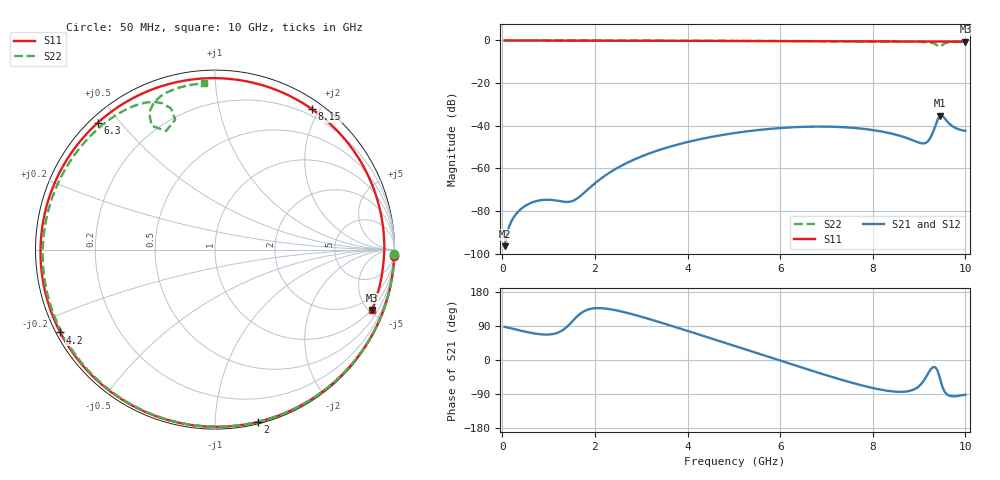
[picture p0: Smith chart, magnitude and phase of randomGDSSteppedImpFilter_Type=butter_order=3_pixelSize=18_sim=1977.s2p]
! freq	dB(S11)	phase(S11)	dB(S12)	phase(S12)
!  dB(S21)	phase(S21)	dB(S22)	phase(S22)
!S-par simulation data
#  GHz  S  DB  R 50
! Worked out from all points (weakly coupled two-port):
!   200 points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, 50 MHz to 10 GHz, reference 50 ohm
!   highest |S21| = -35.19 dB at 9.45 GHz (marker M1); lowest = -96.5 dB at 50 MHz (marker M2)
!   lowest |S11| = -0.6 dB at 10 GHz (marker M3), VSWR 30.59, Z = 47.6 - j261 ohm
!   |S11| at or under -10 dB: nowhere
!   |S22| runs from -2.9 to 0.0 dB; largest |S21 - S12| = 0
!   S11 on the Smith chart (normalised r, x): 50 MHz: 1, -57; 2 GHz: 0.01, -1.28; 4.2 GHz: 0.01, -0.25; 6.3 GHz: 0.02, +0.44; 8.15 GHz: 0.12, +1.90; 10 GHz: 0.95, -5.22
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0.05  -0.01 -2.0  -96.45 87.4  -96.45 87.4  -0.00 -1.4
0.35  -0.02 -13.7  -80.11 78.8  -80.11 78.8  -0.01 -9.8
0.8  -0.04 -31.2  -75.01 68.2  -75.01 68.2  -0.03 -22.4
1.45  -0.07 -55.8  -75.66 94.0  -75.66 94.0  -0.05 -40.1
1.75  -0.08 -66.9  -71.77 127.6  -71.77 127.6  -0.06 -48.2
2  -0.09 -75.9  -66.99 136.6  -66.99 136.6  -0.07 -54.8
2.6  -0.12 -97.2  -58.41 127.2  -58.41 127.2  -0.09 -70.4
3.4  -0.15 -124.7  -51.28 99.7  -51.28 99.7  -0.12 -90.6
4.2  -0.20 -151.8  -46.63 69.1  -46.63 69.1  -0.15 -110.1
5.05  -0.25 178.9  -43.30 35.8  -43.30 35.8  -0.20 -130.3
5.65  -0.29 157.3  -41.72 12.1  -41.72 12.1  -0.24 -144.7
6.3  -0.33 132.7  -40.68 -13.4  -40.68 -13.4  -0.29 -160.4
6.7  -0.36 116.8  -40.40 -28.9  -40.40 -28.9  -0.32 -170.4
7.45  -0.40 85.6  -40.78 -56.6  -40.78 -56.6  -0.40 170.1
8.15  -0.44 55.3  -42.54 -77.7  -42.54 -77.7  -0.48 150.4
8.35  -0.44 46.6  -43.40 -81.8  -43.40 -81.8  -0.51 144.4
9.15  -0.49 12.6  -47.99 -44.9  -47.99 -44.9  -0.81 116.8
9.25  -0.49 8.5  -45.44 -24.9  -45.44 -24.9  -1.03 112.2
9.45  -0.50 0.3  -35.19 -47.9  -35.19 -47.9  -2.92 112.5
9.55  -0.52 -3.7  -36.45 -83.5  -36.45 -83.5  -1.44 115.7
9.75  -0.54 -11.5  -40.60 -95.8  -40.60 -95.8  -0.71 104.5
10  -0.57 -21.0  -42.38 -91.5  -42.38 -91.5  -0.64 93.8
